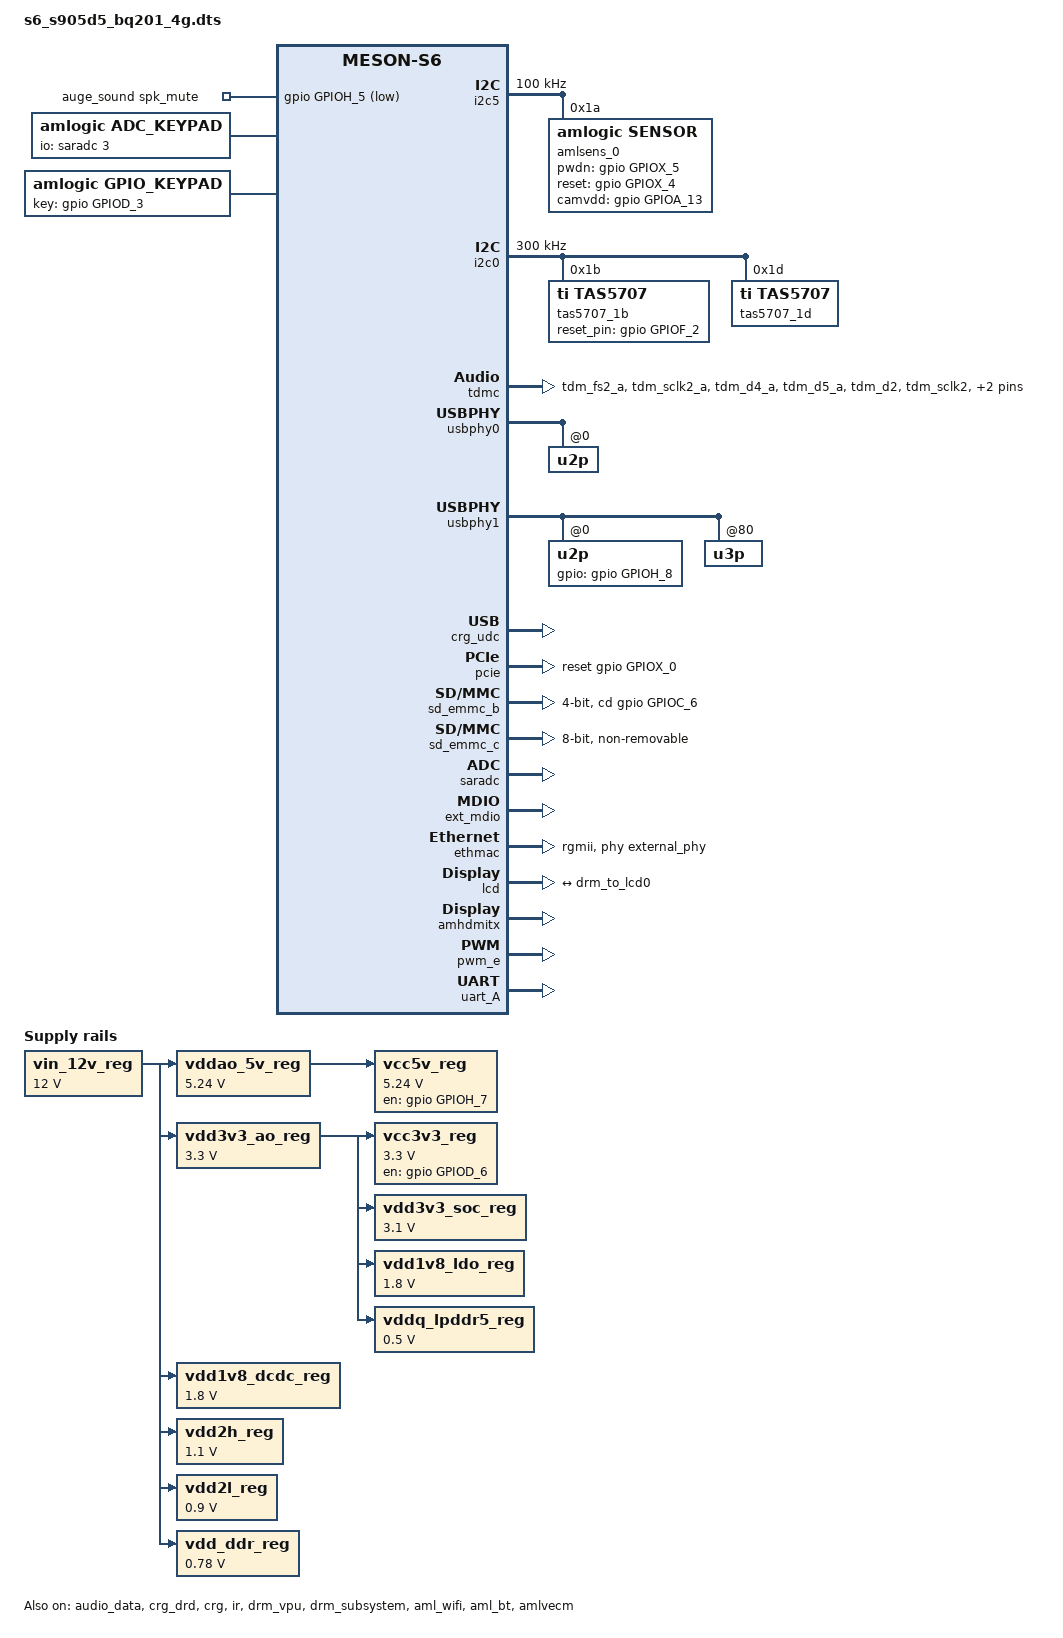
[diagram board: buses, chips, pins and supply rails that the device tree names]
// SPDX-License-Identifier: (GPL-2.0+ OR MIT)
/*
 * Copyright (c) 2019 Amlogic, Inc. All rights reserved.
 */

/dts-v1/;

#include "meson-s6.dtsi"
#include "hdr10plus.dtsi"
#include "mesons6_drm.dtsi"
#include "mesons6_audio.dtsi"
#include "firmware_ab.dtsi"
#include "mesons6_BQ20X_panel.dtsi"

/ {
	amlogic-dt-id = "s6_s905d5_bq201-4g";
	compatible = "s6_s905d5_bq201-4g";
	interrupt-parent = <&gic>;
	#address-cells = <2>;
	#size-cells = <2>;

	aliases {
		serial0 = &uart_B;
		serial1 = &uart_A;
		serial2 = &uart_C;
		i2c0 = &i2c0;
		i2c1 = &i2c1;
		i2c2 = &i2c2;
		i2c3 = &i2c3;
		i2c4 = &i2c4;
		i2c5 = &i2c5;
		spi0 = &spifc;
		spi1 = &spicc0;
		tsensor0 = &p_tsensor;
		tsensor1 = &c_tsensor;
	};

	memory@0 {
		device_type = "memory";
		linux,usable-memory = <0x0 0x000000 0x0 0xe0000000
					0x1 0x000000 0x0 0x20000000>;
	};

	reserved-memory {
		#address-cells = <2>;
		#size-cells = <2>;
		ranges;

		ramdump_bl33z@0 {
			reg = <0x0 0x0 0x0 0x1800000>; /* 0 ~ 24M */
			status = "disabled";
		};

		/* global autoconfigured region for contiguous allocations */

		ramoops@6b00000 {
			compatible = "ramoops";
			reg = <0x0 0x06b00000 0x0 0x00080000>;/* addr set in uboot */
			record-size = <0x30000>;
			console-size = <0x40000>;
			ftrace-size = <0x0>;
			pmsg-size = <0x10000>;
		};

		debug_reserved:linux,iotrace {
			compatible = "amlogic, iotrace";
			reg = <0x0 0x04f00000 0x0 0x00100000>;
			io-size = <0x1b000>;
			sched-size = <0x2000>;
			irq-size = <0x1000>;
			smc-size = <0x1000>;
			misc-size = <0x1000>;
		};

		dmc_reserved:linux,dmc_monitor {
			compatible = "amlogic,dmc_monitor-reserved";
			reg = <0x0 0x0 0x0 0x80000>;
		};

		mte_reserved:linux,mte {
			compatible = "shared-dma-pool";
			no-map;
			reg = <0x0 0x0c000000 0x0 0x10000000>;
		};

		secmon_reserved:linux,secmon {
			compatible = "shared-dma-pool";
			/*reusable;*/
			no-map;
			alignment = <0x0 0x100000>;
			reg = <0x0 0x05000000 0x0 0x1b00000>;
		};

		logo_reserved:linux,meson-fb {
			compatible = "amlogic, meson-fb";
			alignment = <0x0 0x400000>;
			reg = <0x0 0x7f800000 0x0 0x800000>;
		};

		dsp_fw_reserved:linux,dsp_fw {
			compatible = "amlogic, dsp";
			size = <0x0 0x800000>;
			reg = <0x0 0x30000000 0x0 0x800000>;
		};

		ion_cma_reserved:linux,ion-dev {
			compatible = "shared-dma-pool";
			reusable;
			size = <0x0>;
			alignment = <0x0 0x400000>;
		};
		ion_fb_reserved:linux,ion-fb {
			compatible = "shared-dma-pool";
			reusable;
			size = <0x0 0x0>;
			alignment = <0x0 0x400000>;
		};
		dmaheap_cma_reserved:heap-gfx {
			compatible = "shared-dma-pool";
			reusable;
			/* 1080p STB android16 size 88M */
			size = <0x0 0x5800000>;
			alignment = <0x0 0x400000>;
		};
		dmaheap_fb_reserved:heap-fb {
			compatible = "shared-dma-pool";
			reusable;
			/* 4k hdmi, 1080p lcd, android16 size 240M */
			size = <0x0 0xf000000>;
			alignment = <0x0 0x400000>;
		};
		dmaheap_secure_reserved:heap-secure {
			compatible = "amlogic, heap-secure-mem";
			no-map;
			/* advice heap-secure size 208M */
			size = <0x0 0x0>;
			alignment = <0x0 0x400000>;
		};
		mali_protected: mali_protected@c0000000 {
			compatible = "mali-reserved";
			no-map;
			/* 16M with high version than valhall-r41p0,
			 * 64M with low version than valhall-r41p0
			 */
			size = <0x0 0x0>;
			alignment = <0x0 0x400000>;
		};
		/*di CMA pool */
		di_cma_reserved:linux,di_cma {
			compatible = "shared-dma-pool";
			reusable;
			/* buffer_size = 3621952(yuv422 8bit)
			 *  | 4736064(yuv422 10bit)
			 *  | 4074560(yuv422 10bit full pack mode)
			 * 10x3621952=34.6M(0x23) support 8bit
			 * 10x4736064=45.2M(0x2e) support 12bit
			 * 10x4074560=40M(0x28) support 10bit
			 */
			//size = <0x0 0x0B000000>;
			//size = <0x0 0x0>;
			alignment = <0x0 0x400000>;
		};

		/*  POST PROCESS MANAGER */
		ppmgr_reserved:linux,ppmgr {
			compatible = "shared-dma-pool";
			size = <0x0 0x0>;
		};

		codec_mm_cma:linux,codec_mm_cma {
			compatible = "shared-dma-pool";
			reusable;
			/*
			 * Scenario: CTS P010 case
			 * Total size: 548M
			 * Note:
			 *  setting to 496M if scatter_alloc_mode is 0.
			 *  setting to 444M if scatter_alloc_mode is 1.
			 */
			size = <0x0 0x1bc00000>;
			alignment = <0x0 0x400000>;
			alloc-ranges = <0x0 0x0 0x0 0xe0000000>;
			linux,contiguous-region;
		};

		/* codec shared reserved */
		codec_mm_reserved:linux,codec_mm_reserved {
			compatible = "amlogic, codec-mm-reserved";
			size = <0x0 0x0>;
			alignment = <0x0 0x100000>;
			//no-map;
		};

		codec_mm_reserved_ext:linux,codec_mm_reserved_ext {
			compatible = "amlogic, codec-mm-reserved_ext";
			size = <0x00000000 0x000c00000>;
			alignment = <0x0 0x100000>;
			alloc-ranges = <0x0 0x0 0x0 0xe0000000>;
		};

		secure_vdec_reserved:linux,secure_vdec_reserved {
			compatible = "amlogic, secure-vdec-reserved";
			no-map;
			size = <0x0 0x1000000>;
			alignment = <0x0 0x100000>;
			alloc-ranges = <0x0 0x0 0x0 0xe0000000>;
		};

		/*  vdin0 CMA pool */
		//vdin0_cma_reserved:linux,vdin0_cma {
		//	compatible = "shared-dma-pool";
		//	reusable;
			/* up to 1920x1080 yuv422 8bit and 5 buffers
			 * 1920x1080x2x5 = 20 M
			 */
		//	size = <0x0 0x01400000>;
		//	alignment = <0x0 0x400000>;
		//};
		/*  vdin1 CMA pool */
		vdin1_cma_reserved:linux,vdin1_cma {
			compatible = "shared-dma-pool";
			reusable;
			/* up to 720p yuv420 8bit and 4 buffers
			 * 1280x720x1.5x4 = 8 M
			 */
			size = <0x0 0x00800000>;
			alignment = <0x0 0x400000>;
		};
		/*  amlvideo2_1 CMA pool */
		amlvideo2_1_cma_reserved:linux,amlvideo2_1_cma {
			compatible = "shared-dma-pool";
			reusable;
			/* 1920x1080 yuv420 8bit and 4 buffers
			 * 1920x1080x1.5x4 = 12 M
			 */
			size = <0x0 0x00c00000>;
			alignment = <0x0 0x400000>;
			alloc-ranges = <0x0 0x0 0x0 0xe0000000>;
		};
		/* global autoconfigured region for contiguous allocations */
		linux,cma {
			compatible = "shared-dma-pool";
			reusable;
			size = <0x0 0x800000>;
			alignment = <0x0 0x400000>;
			linux,cma-default;
			alloc-ranges = <0x0 0x0 0x0 0xe0000000>;
		};

		pcie_dma_ops_mm:linux,pcie_dma_ops {
			compatible = "shared-dma-pool";
			status = "okay";
			reusable;
			size = <0x0 0x2000000>;
			swiotlb-size = <0x0 0x1c00000>;
			atomic-size = <0x0 0x40000>;
			alignment = <0x0 0x400000>;
			alloc-ranges = <0x0 0x0 0x0 0xe0000000>;
		};
	};

/* Audio Related start */
	auge_sound {
		compatible = "amlogic, auge-sound-card";
		spk_mute-gpios = <&gpio GPIOH_5 GPIO_ACTIVE_LOW>;
		/*gpio high is enable spk,control by "SPK mute"*/
		aml-audio-card,name = "AML-AUGESOUND";
		aml-audio-card,dai-link@0 {
			format = "dsp_b";
			mclk-fs = <512>;
			//continuous-clock;
			//bitclock-inversion;
			//frame-inversion;
			/* master mode */
			bitclock-master = <&tdma>;
			frame-master = <&tdma>;
			/* slave mode */
			/*
			 * bitclock-master = <&tdmacodec>;
			 * frame-master = <&tdmacodec>;
			 */
			suffix-name = "alsaPORT-pcm";
			tdmacpu: cpu {
				sound-dai = <&tdma>;
				dai-tdm-slot-tx-mask =
							<1>;
				dai-tdm-slot-rx-mask =
							<1>;
				dai-tdm-slot-num = <2>;
				dai-tdm-slot-width = <16>;
				system-clock-frequency = <256000>;
			};
			tdmacodec: codec {
				sound-dai = <&dummy_codec>;
			};
		};

		aml-audio-card,dai-link@1 {
			format = "i2s";//"dsp_a";
			mclk-fs = <256>;
			continuous-clock;
			//bitclock-inversion;
			//frame-inversion;
			/* master mode */
			bitclock-master = <&tdmb>;
			frame-master = <&tdmb>;
			/* slave mode */
			//bitclock-master = <&tdmbcodec>;
			//frame-master = <&tdmbcodec>;
			/* suffix-name, sync with android audio hal
			 * what's the dai link used for
			 */
			suffix-name = "alsaPORT-i2s2hdmi";
			cpu {
				sound-dai = <&tdmb>;
				dai-tdm-slot-tx-mask = <1 1>;
				dai-tdm-slot-rx-mask = <1 1>;
				dai-tdm-slot-num = <2>;
				/*
				 * dai-tdm-slot-tx-mask =
				 *	<1 1 1 1 1 1 1 1>;
				 * dai-tdm-slot-rx-mask =
				 *	<1 1 1 1 1 1 1 1>;
				 * dai-tdm-slot-num = <8>;
				 */
				dai-tdm-slot-width = <32>;
				system-clock-frequency = <12288000>;
			};
			tdmbcodec: codec {
				sound-dai = <&dummy_codec>;
			};
		};

		aml-audio-card,dai-link@2 {
			format = "i2s";
			mclk-fs = <256>;
			//continuous-clock;
			//bitclock-inversion;
			//frame-inversion;
			/* master mode */
			bitclock-master = <&tdmc>;
			frame-master = <&tdmc>;
			/* slave mode */
			//bitclock-master = <&tdmccodec>;
			//frame-master = <&tdmccodec>;
			/* suffix-name, sync with android audio hal used for */
			suffix-name = "alsaPORT-i2s";
			cpu {
				sound-dai = <&tdmc>;
				dai-tdm-slot-tx-mask = <1 1>;
				dai-tdm-slot-rx-mask = <1 1>;
				dai-tdm-slot-num = <2>;
				dai-tdm-slot-width = <32>;
				system-clock-frequency = <12288000>;
			};
			tdmccodec: codec {
				prefix-names = "AMP", "AMP1";
				sound-dai = <&tas5707_1b &tas5707_1d &dummy_codec>;
			};
		};

		aml-audio-card,dai-link@3 {
			mclk-fs = <64>;
			/* suffix-name, sync with android audio hal
			 * what's the dai link used for
			 */
			suffix-name = "alsaPORT-pdm-builtinmic";
			cpu {
				sound-dai = <&pdma>;
			};
			codec {
				sound-dai = <&dummy_codec>;
			};
		};

		aml-audio-card,dai-link@4 {
			mclk-fs = <128>;
			continuous-clock;
			/* suffix-name, sync with android audio hal used for */
			suffix-name = "alsaPORT-spdif";
			cpu {
				sound-dai = <&spdifa>;
				system-clock-frequency = <6144000>;
			};
			codec {
				sound-dai = <&dummy_codec>;
			};
		};
		/* spdif_b to hdmi, only playback */
		aml-audio-card,dai-link@5 {
			mclk-fs = <128>;
			continuous-clock;
			/* suffix-name, sync with android audio hal
			 * what's the dai link used for
			 */
			suffix-name = "alsaPORT-spdifb";
			cpu {
				sound-dai = <&spdifb>;
				system-clock-frequency = <6144000>;
			};
			codec {
				sound-dai = <&dummy_codec>;
			};
		};

		aml-audio-card,dai-link@6 {
			mclk-fs = <256>;
			continuous-clock;
			suffix-name = "alsaPORT-loopback";
			cpu {
				sound-dai = <&loopbacka>;
				system-clock-frequency = <12288000>;
			};
			codec {
				sound-dai = <&dummy_codec>;
			};
		};

		/* aml-audio-card,dai-link@7 {
		 *	mclk-fs = <256>;
		 *	suffix-name = "alsaPORT-earc";
		 *	cpu {
		 *		sound-dai = <&earc>;
		 *		system-clock-frequency = <12288000>;
		 *	};
		 *	codec {
		 *		sound-dai = <&dummy_codec>;
		 *	};
		 *};
		 */
	};

	dvb-extern {
		compatible = "amlogic, dvb-extern";
		dev_name = "dvb-extern";
		status = "disabled";

		/* dvb hardware main power. */
		dvb_power_gpio = <&gpio GPIOZ_5 GPIO_ACTIVE_HIGH>;
		dvb_power_value = <1>;
		dvb_power_dir = <0>; /* 0: out, 1: in. */

		fe_num = <4>; /* internal 2 * dvb-c, extern 1 * dvb-s */
		fe0_demod = "internal";
		fe0_tuner0 = <0>; /* use tuner0 */

		fe1_demod = "internal";
		fe1_tuner0 = <1>; /* use tuner1 */

		fe2_demod = "cxd2856";
		fe2_i2c_adap_id = <&i2c4>;
		fe2_demod_i2c_addr = <0xD8>;
		fe2_reset_value = <0>;
		fe2_reset_gpio = <&gpio GPIOZ_4 GPIO_ACTIVE_HIGH>;
		fe2_reset_dir = <0>; /* 0: out, 1: in. */
		fe2_ant_poweron_value = <0>;
		//fe2_ant_power_gpio = <&gpio GPIOH_9 GPIO_ACTIVE_HIGH>;
		fe2_ts = <0>;
		fe2_tuner1 = <3>; /* use tuner3, only S. */

		fe3_demod = "dummy";
		fe3_ts = <3>;

		tuner_num = <4>; /* tuner number, multi tuner support */
		tuner0_name = "r836_tuner";
		tuner0_i2c_adap = <&i2c3>;
		tuner0_i2c_addr = <0x1a>; /* 7bit */
		tuner0_xtal = <0>; /* 0: 16MHz, 1: 24MHz */
		tuner0_xtal_mode = <0>;
					/* NO_SHARE_XTAL(0)
					 * SLAVE_XTAL_SHARE(3)
					 */
		tuner0_xtal_cap = <16>;
		tuner0_lt_out = <1>;

		tuner1_name = "r836_tuner";
		tuner1_i2c_adap = <&i2c3>;
		tuner1_i2c_addr = <0x3a>; /* 7bit */
		tuner1_xtal = <0>; /* 0: 16MHz, 1: 24MHz */
		tuner1_xtal_mode = <0>;
					/* NO_SHARE_XTAL(0)
					 * SLAVE_XTAL_SHARE(3)
					 */
		tuner1_xtal_cap = <16>;
		tuner1_lt_out = <1>;

		tuner2_name = "av2018_tuner";
		tuner2_i2c_adap = <&i2c3>;
		tuner2_i2c_addr = <0xC4>; /* 8bit */
		tuner2_lt_out = <1>;

		tuner3_name = "av2018_tuner";
		tuner3_lt_out = <1>;
	};

	dvb-demux {
		compatible = "amlogic sc2, dvb-demux";
		dev_name = "dvb-demux";
		status = "disabled";

		reg = <0x0 0xfe000000 0x0 0x480000>;

		dmxdev_num = <0x11>;

		tsn_from = "demod";

		/*single demod setting */
		ts0_sid = <0x10>;
		ts0 = "serial-4wire"; /* tsinA: serial-4wire, serial-3wire */
		ts0_control = <0x0>;
		ts0_invert = <0>;

		ts1_sid = <0x11>;
		ts1 = "parallel";
		ts1_control = <0x0>;
		ts1_invert = <0>;

		ts2_sid = <0x12>;
		ts2 = "parallel";
		ts2_control = <0x0>;
		ts2_invert = <0>;

		ts3_sid = <0x7>;

		pinctrl-names = "s_ts0";
		pinctrl-0 = <&dvb_s_ts0_pins>;
	};

	multi-di {
		compatible = "amlogic, dim-s7d";
		/* s6 same as s7d */
		status = "okay";
		/* 0:use reserved; 1:use cma; 2:use cma as reserved */
		flag_cma = <4>;	//<1>;
		//memory-region = <&di_reserved>;
		//memory-region = <&di_cma_reserved>;
		interrupts = <0 203 4
				0 202 4>;
		interrupt-names = "pre_irq", "post_irq";
		clocks = <&clkc CLKID_VPU_CLKB>,
			<&clkc CLKID_VPU>;
		clock-names = "vpu_clkb",
			"vpu_mux";
		clock-range = <334 667>;
		/* buffer-size = <3621952>;(yuv422 8bit) */
		buffer-size = <4074560>;/*yuv422 fullpack*/
		/* reserve-iomap = "true"; */
		/* if enable nr10bit, set nr10bit-support to 1 */
		post-wr-support = <1>;
		nr10bit-support = <1>;
		nrds-enable = <1>;
		pps-enable = <1>;
		post_nub = <10>;
	};

	aml_dtv_demod {
		compatible = "amlogic, ddemod-s4";
		dev_name = "aml_dtv_demod";
		status = "disabled";
		/* diseqc_name = "sgm_41286"; */
		pinctrl-names="if_agc_pins", "if_agc2_pins";
		pinctrl-0=<&dtvdemod_if_agc_pins>;
		pinctrl-1=<&dtvdemod_if_agc2_pins>;
		/* pinctrl-2=<&diseqc_out>; */
		/* lnb_en-gpios = <&gpio GPIOZ_2 GPIO_ACTIVE_HIGH>; */
		/* lnb_sel-gpios = <&gpio GPIOZ_3 GPIO_ACTIVE_HIGH>; */
		/* interrupts = <GIC_SPI 142 IRQ_TYPE_EDGE_RISING>; */
		/* interrupt-names = "demod_isr"; */

		//power-domains = <&pwrdm PDID_S4_DEMOD>;
		/* clocks = <&clkc CLKID_DAC_CLK>; */
		/* clock-names = "vdac_clk_gate"; */

		reg = <0x0 0xfe350000 0x0 0x10000	/* dtv demod base */
			   0x0 0xfe000000 0x0 0x2000	/* div base */
			   0x0 0xff800000 0x0 0x1000	/* io_aobus_base */
			   0x0 0xffd01000 0x0 0x1000	/* reset */
			>;

		spectrum = <1>;
		cma_mem_size = <0>; //MB
	};

	adc_keypad {
		compatible = "amlogic, adc_keypad";
		status = "okay";
		key_name = "update", "vol-", "vol+", "enter";
		key_num = <4>;
		io-channels = <&saradc 3>;
		io-channel-names = "key-chan-3";
		key_chan = <SARADC_CH3 SARADC_CH3 SARADC_CH3 SARADC_CH3>;
		key_code = <KEY_SETUP KEY_VOLUMEDOWN KEY_VOLUMEUP KEY_ENTER>;
		key_val = <0 250 470 680>;	/* Unit: millivolt */
		key_tolerance = <70 70 70 70>;	/* Unit: millivolt */
	};

	gpio_keypad {
		compatible = "amlogic, gpio_keypad";
		status = "okay";
		scan_period = <20>;
		key_num = <1>;
		key_name = "power";
		key_code = <KEY_POWER>;
		key_type = <EV_KEY>;
		key-gpios = <&gpio GPIOD_3 GPIO_ACTIVE_HIGH>;
		/* 0:polling mode,   1:irq mode */
		detect_mode = <0>;
	};

	vin_12v_reg: fixed@vin_12v_reg {
		compatible = "regulator-fixed";
		regulator-name = "DC_IN";
		regulator-min-microvolt = <12000000>;
		regulator-max-microvolt = <12000000>;
		regulator-boot-on;
		regulator-always-on;
	};

	vddao_5v_reg: fixed@vddao_5v_reg {
		vin-supply = <&vin_12v_reg>;
		compatible = "regulator-fixed";
		regulator-name = "VDDAO_5V";
		regulator-min-microvolt = <5240000>;
		regulator-max-microvolt = <5240000>;
		regulator-boot-on;
		regulator-always-on;
	};

	vdd3v3_ao_reg: fixed@vdd3v3_ao_reg {
		vin-supply = <&vin_12v_reg>;
		compatible = "regulator-fixed";
		regulator-name = "VDDAO_3.3V";
		regulator-min-microvolt = <3300000>;
		regulator-max-microvolt = <3300000>;
		regulator-boot-on;
		regulator-always-on;
	};

	vdd1v8_dcdc_reg: fixed@vdd1v8_dcdc_reg {
		compatible = "regulator-fixed";
		vin-supply = <&vin_12v_reg>;
		regulator-name = "VDD1V8_DCDC";
		regulator-min-microvolt = <1800000>;
		regulator-max-microvolt = <1800000>;
		regulator-boot-on;
		regulator-always-on;
	};

	vdd2h_reg: fixed@vdd2h_reg {
		vin-supply = <&vin_12v_reg>;
		compatible = "regulator-fixed";
		regulator-name = "VDD2H";
		regulator-min-microvolt = <1100000>;
		regulator-max-microvolt = <1100000>;
		regulator-boot-on;
		regulator-always-on;
	};

	vdd2l_reg: fixed@vdd2l_reg {
		vin-supply = <&vin_12v_reg>;
		compatible = "regulator-fixed";
		regulator-name = "VDD2L";
		regulator-min-microvolt = <900000>;
		regulator-max-microvolt = <900000>;
		regulator-boot-on;
		regulator-always-on;
	};

	vdd_ddr_reg: fixed@vdd_ddr_reg {
		vin-supply = <&vin_12v_reg>;
		compatible = "regulator-fixed";
		regulator-name = "VDD_DDR";
		regulator-min-microvolt = <780000>;
		regulator-max-microvolt = <780000>;
		regulator-boot-on;
		regulator-always-on;
	};

	vcc5v_reg: fixed@vcc5v_reg {
		vin-supply = <&vddao_5v_reg>;
		compatible = "regulator-fixed";
		regulator-name = "VCC5V";
		regulator-min-microvolt = <5240000>;
		regulator-max-microvolt = <5240000>;
		pinctrl-names = "default";
		// GPIOH_7(DOWN)
		// Set:Output L=Disable, Output disable=Enable VCC5V
		gpio = <&gpio GPIOH_7 GPIO_ACTIVE_HIGH>;
		enable-active-high;
		startup-delay-us = <7000>;
		regulator-boot-on;
		regulator-always-on;
	};

	vcc3v3_reg: fixed@vcc3v3_reg {
		vin-supply = <&vdd3v3_ao_reg>;
		compatible = "regulator-fixed";
		regulator-name = "VCC3V3";
		regulator-min-microvolt = <3300000>;
		regulator-max-microvolt = <3300000>;
		pinctrl-names = "default";
		// GPIOD6(up) H=>POWER_ON L=>POWER_OFF
		gpio = <&gpio GPIOD_6 GPIO_ACTIVE_HIGH>;
		startup-delay-us = <7000>;
		enable-active-high;
		regulator-boot-on;
		regulator-always-on;
	};

	vdd3v3_soc_reg: fixed@vdd3v3_soc_reg {
		vin-supply = <&vdd3v3_ao_reg>;
		compatible = "regulator-fixed";
		regulator-name = "VDDIO_SOC";
		regulator-min-microvolt = <3100000>;
		regulator-max-microvolt = <3100000>;
		regulator-boot-on;
		regulator-always-on;
	};

	vdd1v8_ldo_reg: fixed@vdd1v8_ldo_reg {
		compatible = "regulator-fixed";
		vin-supply = <&vdd3v3_ao_reg>;
		regulator-name = "VDD1V8_LDO";
		regulator-min-microvolt = <1800000>;
		regulator-max-microvolt = <1800000>;
		regulator-boot-on;
		regulator-always-on;
	};

	vddq_lpddr5_reg: fixed@vddq_lpddr5_reg {
		compatible = "regulator-fixed";
		vin-supply = <&vdd3v3_ao_reg>;
		regulator-name = "VDDQ_LPDDR5";
		regulator-min-microvolt = <500000>;
		regulator-max-microvolt = <500000>;
		regulator-boot-on;
		regulator-always-on;
	};
};

&i2c3 {
	status = "disabled";
	pinctrl-names="default";
	pinctrl-0=<&i2c3_pins2>;
	clock-frequency = <300000>;
};

&i2c4 {
	status = "disabled";
	pinctrl-names="default";
	pinctrl-0=<&i2c4_pins3>;
	clock-frequency = <300000>;
};

&i2c5 {
	status = "okay";
	pinctrl-names="default";
	pinctrl-0=<&i2c5_pins3>;
	clock-frequency = <100000>;

	amlsens_0: sensor0@1a {
		compatible = "amlogic, sensor";
		index = <1>;
		reg = <0x1a>;
		reg-addr-type = <2>;
		reg-data-type = <1>;

		// using cm_mclk_0 24M
		clocks = <&clkc CLKID_MCLK0>;
		clock-names = "mclk0";

		pwdn-gpios = <&gpio GPIOX_5 GPIO_ACTIVE_HIGH>;
		reset-gpios = <&gpio GPIOX_4 GPIO_ACTIVE_HIGH>;
		camvdd-gpios = <&gpio GPIOA_13 GPIO_ACTIVE_HIGH>;

		port {
			amlsens_0_ep: endpoint {
				data-lanes = <0 1 2 3>;
				link-frequencies = /bits/ 64 <222750000>;
			};
		};
	};
};

&amvdec_csi {
	squlech_mode = <1>;
};

&i2c0 {
	status = "okay";
	pinctrl-names="default";
	pinctrl-0=<&i2c0_pins4>;
	clock-frequency = <300000>; /* default 100k */
	tas5707_1b: tas5707_1b@1b {
		compatible = "ti,tas5707";
		#sound-dai-cells = <0>;
		reg = <0x1b>;
		status = "okay";
		reset_pin = <&gpio GPIOF_2 0>;
	};
	tas5707_1d: tas5707_1d@1d {
		compatible = "ti,tas5707";
		#sound-dai-cells = <0>;
		reg = <0x1d>;
		status = "okay";
		//reset_pin = <&gpio GPIOF_2 0>;
	};
	aw9523: aw9523_led@5b {
		compatible = "amlogic,aw9523b_led";
		reg = <0x5b>;
		status = "disabled";
		//reset-gpio = <&gpio GPIOD_10 GPIO_ACTIVE_HIGH>;
		platform = <10>;

		led1 {
			default_colors = <0 0 0>;
			r_io_number = <2>;
			g_io_number = <12>;
			b_io_number = <7>;
		};

		led2 {
			default_colors = <0 0 0>;
			r_io_number = <4>;
			g_io_number = <10>;
			b_io_number = <9>;
		};

		led3 {
			default_colors = <0 0 0>;
			r_io_number = <3>;
			g_io_number = <11>;
			b_io_number = <8>;
		};

		led4 {
			default_colors = <0 0 0>;
			r_io_number = <0>;
			g_io_number = <14>;
			b_io_number = <5>;
		};
		led9 {
			default_colors = <0 0 0>;
			r_io_number = <1>;
			g_io_number = <13>;
			b_io_number = <6>;
		};
	};
};

&vddcpu0_board2 {
	status = "okay";
};

&CPU0 {
	operating-points-v2 = <&cpu_opp_table0>,
						<&cpu_opp_table1_2400>,
						<&cpu_opp_table2_2400>,
						<&cpu_opp_table3_2400>;
};

&tdmc {
	pinctrl-names = "tdm_pins";
	pinctrl-0 = <&i2s_gpio_d_pins_1
		&tdm_d3_pins
		&tdmc_clk_pins>;
};

&spdifa {
		pinctrl-names = "spdif_pins", "spdif_pins_mute";
		pinctrl-0 = <&spdif_out_a_h4_pins>;
		pinctrl-1 = <&spdif_out_a_h4_mute_pins>;
};

&periphs_pinctrl {
	dvb_s_ts0_pins: dvb_s_ts0_pins {
		tsin_a {
			groups = "tsin_a_sop",
				"tsin_a_valid",
				"tsin_a_clk",
				"tsin_a_din0";
			function = "tsin_a";
		};
	};
}; /* end of periphs_pinctrl */

&audio_data {
	status = "okay";
};

&usbphy0 {
	status = "okay";
	u2p@0 {
		status = "okay";
		controller-type = <3>; /* 0~3: normal, host, device, otg */
	};
};

&usbphy1 {
	status = "okay";
	u2p@0 {
		status = "okay";
		/* otg & 3.0 share the vbus power.*/
		gpio-vbus-power = "GPIOH_8";
		gpios = <&gpio GPIOH_8 (GPIO_ACTIVE_HIGH|GPIO_OPEN_DRAIN)>;
	};

	u3p@80 {
		status = "okay";
	};
};

&crg_drd {
	status = "okay";
};

&crg_udc {
	status = "okay";
};

&crg {
	status = "okay";
};

&pcie {
	reset-gpio = <&gpio GPIOX_0 GPIO_ACTIVE_HIGH>;
	max-link-speed=<1>;
	iommu-map = <0x100 &smmu 0x5 0x10>;
	status = "okay";
};

/* SDIO */
&sd_emmc_a {
	status = "disabled";
	pinctrl-0 = <&sdio_pins>;
	pinctrl-1 = <&sdio_clk_gate_pins>;
	pinctrl-names = "default", "clk-gate";
	#address-cells = <1>;
	#size-cells = <0>;

	bus-width = <4>;
	cap-sd-highspeed;
	sd-uhs-sdr50;
	sd-uhs-sdr104;
	max-frequency = <200000000>;

	non-removable;
	disable-wp;

	//vmmc-supply = <&vddao_3v3>;
	//vqmmc-supply = <&vddio_ao1v8>;

	brcmf: wifi@1 {
		reg = <1>;
		compatible = "brcm,bcm4329-fmac";
	};
};

/* SD card */
&sd_emmc_b {
	status = "okay";
	pinctrl-0 = <&sdcard_pins>;
	pinctrl-1 = <&sdcard_clk_gate_pins>;
	pinctrl-2 = <&sd_1bit_pins>;
	//pinctrl-3 = <&sd_to_ao_uart_clr_pins
	//	&sdcard_pins &ao_to_sd_uart_pins>;
	//pinctrl-4 = <&sd_to_ao_uart_clr_pins
	//	&sd_1bit_pins &ao_to_sd_uart_pins>;
	//pinctrl-5 = <&sdcard_pins &ao_uart_pins>;
	//pinctrl-6 = <&sd_to_ao_uart_clr_pins
	//	&ao_to_sd_uart_pins>;
	//pinctrl-7 = <&sdcard_pins &ao_uart_pins>;
	//pinctrl-8 = <&sd_to_ao_uart_clr_pins
	//	&ao_to_sd_uart_pins>;
	pinctrl-names = "sd_default",
			"clk-gate",
			"sd_1bit_pins";
	//		"sd_clk_cmd_uart_pins",
	//		"sd_1bit_uart_pins",
	//		"sd_to_ao_uart_pins",
	//		"ao_to_sd_uart_pins",
	//		"sd_to_ao_jtag_pins",
	//		"ao_to_sd_jtag_pins";
	bus-width = <4>;
	cap-sd-highspeed;
//	sd-uhs-sdr12;
//	sd-uhs-sdr25;
//	sd-uhs-sdr50;
//	sd-uhs-sdr104;
	max-frequency = <200000000>;
	disable-wp;

	cd-gpios = <&gpio GPIOC_6 GPIO_ACTIVE_HIGH>;
	//dat1-gpios = <&gpio GPIOC_1 GPIO_ACTIVE_HIGH>;
	//vmmc-supply = <&vddao_3v3>;
	//vqmmc-supply = <&emmc_1v8>;
};

&sd_emmc_c {
	status = "okay";
	pinctrl-0 = <&emmc_pins>, <&emmc_ds_pins>;
	pinctrl-1 = <&emmc_clk_gate_pins>;
	pinctrl-names = "default", "clk-gate";

	bus-width = <8>;
	cap-mmc-highspeed;
//	mmc-ddr-1_8v;
	mmc-hs200-1_8v;
	mmc-hs400-1_8v;
	max-frequency = <200000000>;
	non-removable;
	disable-wp;

//	mmc-pwrseq = <&emmc_pwrseq>;
//	vmmc-supply = <&vddao_3v3>;
//	vqmmc-supply = <&vddao_1v8>;
};

&mtd_nand {
	status = "disabled";
	#address-cells = <1>;
	#size-cells = <0>;

	pinctrl-names = "nand_norb_mod","nand_cs_only";
	pinctrl-0 = <&all_nand_pins>;
	pinctrl-1 = <&nand_cs_pins>;
	bl_mode = <2>;
	fip_copies = <4>;
	fip_size = <0x200000>;
	ship_bad_block = <1>;
	disa_irq_flag = <1>;
	nand@0 {
		reg = <0>;
		#address-cells = <1>;
		#size-cells = <1>;
		nand-ecc-maximize;

		partitions {
			#address-cells = <1>;
			#size-cells = <1>;

			partition@0 {
				label = "bootloader";
				reg = <0x0 0x00000000>;
			};
			partition@1 {
				label = "bl2e";
				reg = <0x0 0x00000000>;
			};
			partition@2 {
				label = "bl2x";
				reg = <0x0 0x00000000>;
			};
			partition@3 {
				label = "ddrfip";
				reg = <0x0 0x00000000>;
			};
			partition@4 {
				label = "tpl";
				reg = <0x0 0x00000000>;
			};
			partition@5 {
				/* Do not modify before the factory partition */
				label = "factory";
				reg = <0x0 0x0800000>;
			};
			partition@6 {
				label = "tee";
				reg = <0x0 0x800000>;
			};
			partition@7 {
				label = "logo";
				reg = <0x0 0x200000>;
			};
			partition@8 {
				label = "misc";
				reg = <0x0 0x800000>;
			};
			partition@9 {
				label = "recovery";
				reg = <0x0 0x2000000>;
			};
			partition@10 {
				label = "boot";
				reg = <0x0 0x2200000>;
			};
			partition@11 {
				label = "system";
				reg = <0x0 0xE000000>;
			};
			partition@12 {
				label = "vendor";
				reg = <0x0 0x1000000>;
			};
			partition@13 {
				label = "vbmeta";
				reg = <0x0 0x0100000>;
			};
			partition@14 {
				label = "data";
				reg = <0x0 0xffffffff>;
			};
		};
	};
};

&saradc {
	status = "okay";
};

/*exphy setting*/
&ext_mdio {
	status = "okay";
};

&ethmac {
	pinctrl-0 = <&eth_pins>, <&eth_rgmii_pins>;
	pinctrl-names = "default";
	status = "okay";
	phy-mode = "rgmii";
	phy-handle = <&external_phy>;
	amlogic,tx-delay-ns = <2>;
	internal_phy = <2>;
	cali_val = <0x290000>;
};

/*inphy setting*/
//&int_mdio {
//	status = "okay";
//};
//&ethmac {
//	status = "okay";
//	phy-handle = <&internal_ephy>;
//	phy-mode = "rmii";
//	internal_phy = <1>;
//};

&ir {
	status = "okay";
	pinctrl-0 = <&remote_pins>;
	pinctrl-names = "default";
};

&spicc0 {
	status = "disabled";
	pinctrl-names = "default";
	pinctrl-0 = <&spicc0_pins_x>;
};

&spifc {
	status = "disabled";
	spi-nor@0 {
		status = "disabled";
	};
};

&fb {
	status = "disabled";
	display_size_default = <1920 1080 1920 2160 32>;
	mem_size = <0x00800000 0x1980000 0x100000 0x100000>;
	logo_addr = "0x7f800000";
	mem_alloc = <0>;
	pxp_mode = <0>; /** 0:normal mode 1:pxp mode */
};

&drm_vpu {
	status = "okay";
	logo_addr = "0x7f800000";
	assigned-clock-rates = <250000000>;

	connectors_dev: port@1 {
		drm_to_lcd0: endpoint@2 {
			reg = <2>;
			remote-endpoint = <&lcd0_to_drm>;
		};
	};
};

&lcd {
	ports {
		port {
			#address-cells = <1>;
			#size-cells = <0>;
			lcd0_to_drm: endpoint@0 {
				reg = <0>;
				remote-endpoint = <&drm_to_lcd0>;
			};
		};
	};
};

&drm_subsystem {
	status = "okay";
	crtc_max_out_size = <1 0>; /** 0:1080p fb 1:4k fb */
	vpu_block_select = <&vpu_blocks_viu2>;
	gfcd_enable = /bits/ 8  <0>;
	crtc_masks = <3 3 1>; /*for encoder: 0:hdmi 1:lcd 2:cvbs*/
	fbdev_sizes = <1280 720 1280 1440 32>;
};

&dummy_venc {
	status = "disabled";
};

&drm_to_dummyl {
	status = "disabled";
};

&amhdmitx {
	status = "okay";
};

&drm_amhdmitx {
	status = "disabled";
	hdcp = "disabled";
};

&drm_amcvbsout {
	status = "disabled";
};

/*if you want to use vdin just modify status to "ok"*/
&vdin0 {
	/*compatible = "amlogic, vdin-s6";*/
	/*memory-region = <&vdin0_cma_reserved>;*/
	/*status = "disabled";*/
	/* up to 1920x1080 yuv422 8bit and 5 buffers
	 * 1920x1080x2x5 = 20 M
	 */
	cma_size = <20>;
	/*vdin write mem color depth support:
	 *bit0:support 8bit
	 *bit1:support 9bit
	 *bit2:support 10bit
	 *bit3:support 12bit
	 *bit4:support yuv422 10bit full pack mode (from txl new add)
	 */
	tv_bit_mode = <0x1>;
};

&vdin1 {
	/*compatible = "amlogic, vdin-s6";*/
	memory-region = <&vdin1_cma_reserved>;
	frame_buff_num = <4>;
	/*status = "disabled";*/
	/*vdin write mem color depth support:
	 *bit0:support 8bit
	 *bit1:support 9bit
	 *bit2:support 10bit
	 *bit3:support 12bit
	 */
	tv_bit_mode = <1>;
};

&amlvideo2_1 {
	memory-region = <&amlvideo2_1_cma_reserved>;
	cma_mode = <0>;
};

&aml_wifi{
	status = "okay";
	interrupt-gpios = <&gpio  GPIOX_7  GPIO_ACTIVE_HIGH>;
	power_on-gpios = <&gpio   GPIOX_6  GPIO_ACTIVE_HIGH>;
};

&aml_bt {
	status = "okay";
	reset-gpios = <&gpio    GPIOX_17 GPIO_ACTIVE_HIGH>;
	btwakeup-gpios = <&gpio    GPIOX_18 GPIO_ACTIVE_HIGH>;
	hostwake-gpios = <&gpio GPIOX_19 GPIO_ACTIVE_HIGH>;
};

&pwm_e {
	pinctrl-0 = <&pwm_e_pins1>;
	pinctrl-names = "default";
	status = "okay";
};

&uart_A {
	status = "okay";
	uart-has-rtscts;
};

&amlogic_codec {
	tocodec_inout = <1>;
	tdmout_index = <1>;
};

&pdma {
	/*on the board use sd card*/
	//pinctrl-names = "pdm_pins";
	//pinctrl-0 = <&pdminc_pins>;
};

&tdmc {
	clocks = <&clkaudio CLKID_AUDIO_MCLK_C
				&clkc CLKID_HIFI_PLL
				&clkc CLKID_HIFI1_PLL
				&clkaudio CLKID_AUDIO_MCLK_PAD1>;
	clock-names = "mclk", "clk_srcpll", "clk_src_cd", "mclk_pad";
	pinctrl-names = "tdm_pins";
	pinctrl-0 = <&i2s_gpio_a_pins_1
		&tdm_d4_pins
		&tdm_d5_pins
		&tdmc_clk_pins
		&mclk2_pins>;
};

&spdifa {
		pinctrl-names = "spdif_pins", "spdif_pins_mute";
		pinctrl-0 = <&spdif_out_a_h4_pins>;
		pinctrl-1 = <&spdif_out_a_h4_mute_pins>;
};

&pinctrl_audio {
	tdm_d4_pins: tdm_d4_pin {
		mux {
			groups = "tdm_d2";
			function = "tdmoutc_lane0";
		};
	};

	tdm_d5_pins: tdm_d5_pin {
		mux {
			groups = "tdm_d2";
			function = "tdmoutc_lane1";
		};
	};

	tdmc_clk_pins: tdmc_clk_pin {
		mux {
			groups = "tdm_sclk2", "tdm_lrclk2";
			function = "tdm_clk_outc";
		};
	};
};

&periphs_pinctrl {
	i2s_gpio_a_pins_1: i2s_gpio_a_1 {
		mux { /* GPIOA_6 GPIOA_7 GPIOA_2 GPIOA_3 */
			groups = "tdm_fs2_a",
				"tdm_sclk2_a",
				"tdm_d4_a",
				"tdm_d5_a";
			function = "tdm";
		};
	};

	mclk2_pins: mclk_2 {
		mux { /* GPIOA_8 */
			groups = "mclk_2_a";
			function = "mclk";
		};
	};
};

&amlvecm {
	compatible = "amlogic, vecm-s6";
	dev_name = "aml_vecm";
	status = "okay";
	gamma_en = <0>;/*1:enable ;0:disable*/
	wb_en = <0>;/*1:enable ;0:disable*/
	/*0: 709/601  1: bt2020*/
	tx_op_color_primary = <0>;
};
